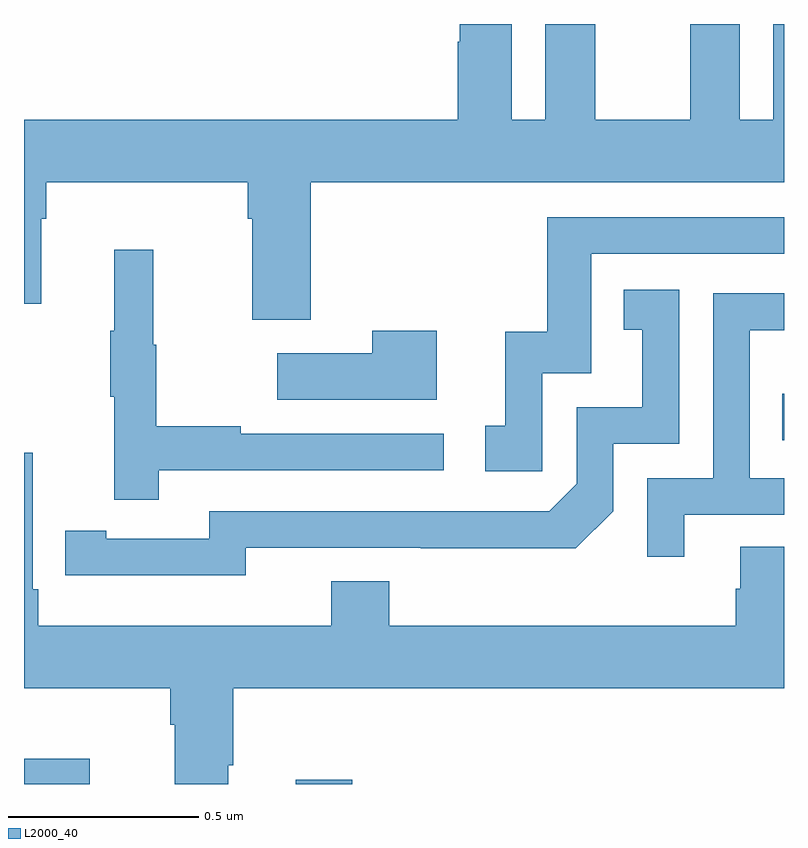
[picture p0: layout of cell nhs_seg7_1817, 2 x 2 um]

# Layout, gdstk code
import gdstk
lib = gdstk.Library(unit=1e-6, precision=1e-09)
def R(c, l, rs):  # rectangles x0, y0, x1, y1
    for r in rs: c.add(gdstk.rectangle(r[:2], r[2:], *l))
def P(c, l, *ps):  # polygons
    for p in ps: c.add(gdstk.Polygon(p, *l))
L2000_40 = (2000, 40)

nhs_seg7_1817 = lib.new_cell('nhs_seg7_1817')
R(nhs_seg7_1817, L2000_40, [(136,1031,136.173,1031.066), (136.715,1031,136.864,1031.011), (137.995,1031.904,138,1032.027)])
P(nhs_seg7_1817, L2000_40, [(136.754,1032.584),(138,1032.584),(138,1033),(137.972,1033),(137.972,1032.748),(137.884,1032.748),(137.884,1033),(137.753,1033),(137.753,1032.748),(137.503,1032.748),(137.503,1033),(137.372,1033),(137.372,1032.748),(137.284,1032.748),(137.284,1033),(137.147,1033),(137.147,1032.953),(137.141,1032.953),(137.141,1032.748),(136,1032.748),(136,1032.264),(136.045,1032.264),(136.045,1032.488),(136.058,1032.488),(136.058,1032.584),(136.589,1032.584),(136.589,1032.488),(136.601,1032.488),(136.601,1032.222),(136.754,1032.222)],
  [(137.364,1032.081),(137.493,1032.081),(137.493,1032.396),(138,1032.396),(138,1032.492),(137.377,1032.492),(137.377,1032.19),(137.267,1032.19),(137.267,1031.943),(137.214,1031.943),(137.214,1031.823),(137.364,1031.823)],
  [(136.355,1031.826),(137.104,1031.826),(137.104,1031.922),(136.571,1031.922),(136.571,1031.942),(136.348,1031.942),(136.348,1032.156),(136.34,1032.156),(136.34,1032.406),(136.238,1032.406),(136.238,1032.193),(136.227,1032.193),(136.227,1032.019),(136.238,1032.019),(136.238,1031.748),(136.355,1031.748)],
  [(136.584,1031.622),(137.044,1031.622),(137.044,1031.621),(137.452,1031.621),(137.55,1031.718),(137.55,1031.895),(137.724,1031.895),(137.724,1032.301),(137.578,1032.301),(137.578,1032.195),(137.627,1032.195),(137.627,1031.991),(137.454,1031.991),(137.454,1031.79),(137.382,1031.718),(136.488,1031.718),(136.488,1031.646),(136.216,1031.646),(136.216,1031.666),(136.108,1031.666),(136.108,1031.55),(136.216,1031.55),(136.216,1031.549),(136.584,1031.549)],
  [(137.737,1031.709),(138,1031.709),(138,1031.805),(137.91,1031.805),(137.91,1032.194),(138,1032.194),(138,1032.291),(137.814,1032.291),(137.814,1031.805),(137.64,1031.805),(137.64,1031.598),(137.737,1031.598)],
  [(137.086,1032.193),(136.916,1032.193),(136.916,1032.133),(136.667,1032.133),(136.667,1032.011),(137.086,1032.011)],
  [(136.537,1031.05),(136.55,1031.05),(136.55,1031.252),(138,1031.252),(138,1031.624),(137.885,1031.624),(137.885,1031.514),(137.873,1031.514),(137.873,1031.416),(136.961,1031.416),(136.961,1031.533),(136.808,1031.533),(136.808,1031.416),(136.037,1031.416),(136.037,1031.512),(136.023,1031.512),(136.023,1031.872),(136,1031.872),(136,1031.252),(136.385,1031.252),(136.385,1031.156),(136.397,1031.156),(136.397,1031),(136.537,1031)])

lib.write_gds('nhs_seg7_1817.gds')
